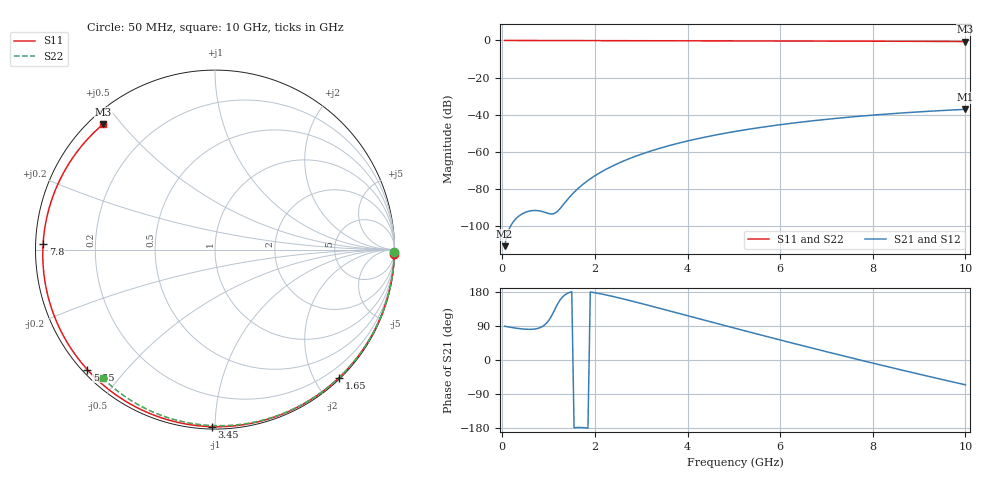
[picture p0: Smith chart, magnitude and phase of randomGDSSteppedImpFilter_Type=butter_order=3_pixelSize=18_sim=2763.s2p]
! freq	dB(S11)	phase(S11)	dB(S12)	phase(S12)
!  dB(S21)	phase(S21)	dB(S22)	phase(S22)
!S-par simulation data
#  GHz  S  DB  R 50
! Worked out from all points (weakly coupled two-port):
!   200 points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, 50 MHz to 10 GHz, reference 50 ohm
!   highest |S21| = -37.18 dB at 10 GHz (marker M1); lowest = -111.0 dB at 50 MHz (marker M2)
!   lowest |S11| = -0.6 dB at 10 GHz (marker M3), VSWR 30.34, Z = 1.98 + j22.4 ohm
!   |S11| at or under -10 dB: nowhere
!   |S22| runs from -0.4 to 0.0 dB; largest |S21 - S12| = 0
!   S11 on the Smith chart (normalised r, x): 50 MHz: 0, -80; 1.65 GHz: 0.02, -2.36; 3.45 GHz: 0.01, -0.98; 5.55 GHz: 0.01, -0.40; 7.8 GHz: 0.02, +0.02; 10 GHz: 0.04, +0.45
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0.05  -0.00 -1.4  -111.00 89.0  -111.00 89.0  -0.00 -0.8
0.4  -0.02 -11.4  -94.01 82.3  -94.01 82.3  -0.01 -6.0
0.8  -0.03 -22.6  -91.96 84.7  -91.96 84.7  -0.02 -12.0
1.2  -0.04 -33.7  -92.01 149.0  -92.01 149.0  -0.02 -18.0
1.6  -0.06 -44.6  -80.70 -178.3  -80.70 -178.3  -0.03 -23.9
1.65  -0.06 -45.9  -79.56 -178.1  -79.56 -178.1  -0.03 -24.7
1.75  -0.06 -48.6  -77.45 -178.5  -77.45 -178.5  -0.03 -26.1
2.05  -0.07 -56.5  -72.22 176.4  -72.22 176.4  -0.04 -30.5
2.45  -0.08 -66.7  -66.91 165.9  -66.91 165.9  -0.05 -36.3
2.9  -0.10 -77.9  -62.28 152.3  -62.28 152.3  -0.06 -42.7
3.4  -0.11 -89.9  -58.18 136.4  -58.18 136.4  -0.07 -49.8
3.45  -0.12 -91.1  -57.82 134.8  -57.82 134.8  -0.07 -50.5
4.2  -0.14 -108.1  -53.11 110.4  -53.11 110.4  -0.09 -60.8
5.05  -0.18 -126.4  -49.01 83.0  -49.01 83.0  -0.11 -72.0
5.55  -0.21 -136.7  -47.03 67.0  -47.03 67.0  -0.13 -78.5
6.15  -0.25 -148.9  -44.98 48.2  -44.98 48.2  -0.15 -86.1
6.7  -0.28 -159.9  -43.36 31.1  -43.36 31.1  -0.18 -92.8
7.25  -0.32 -170.8  -41.94 14.3  -41.94 14.3  -0.21 -99.5
7.8  -0.37 178.2  -40.70 -2.3  -40.70 -2.3  -0.25 -106.0
8.35  -0.42 167.0  -39.62 -18.5  -39.62 -18.5  -0.29 -112.4
9.15  -0.49 150.3  -38.29 -41.7  -38.29 -41.7  -0.36 -121.5
10  -0.57 131.7  -37.18 -65.5  -37.18 -65.5  -0.44 -131.1
